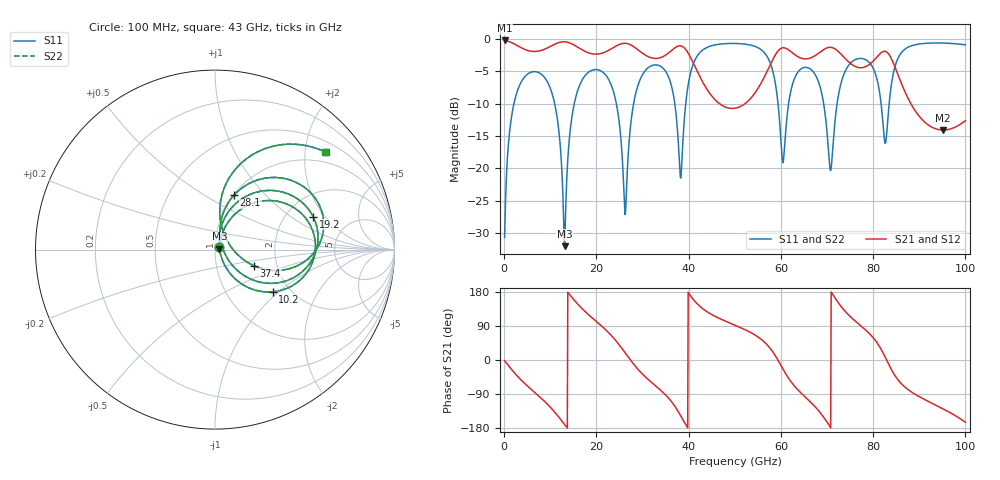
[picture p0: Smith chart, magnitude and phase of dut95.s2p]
! Touchstone file exported from HFSS 2026.1.0
!  File:  C:/ffzhzh/LocalFiles/Ansys_Project_Files/temp_train_TSV_RDL_95_1783454212_34316.aedt
!  Generated:  04:10:41 AM Jul  8, 2026
!  Design:  TSV_RDL
!  Project:  temp_train_TSV_RDL_95_1783454212_34316
! Variables:
!  h_bsmrdl = 2.17um
!  h_ox = 20um
!  h_rdl = 5um
!  h_sub = 97.57um
!  h_tmrdl = 4.22um
!  h_tsv = 97.57um
!  h_via = 3um
!  l_bsmrdl = 320.48um
!  l_sub = 4011.52um
!  l_tmrdl = 635.88um
!  m_sub = 200um
!  pitch = 53.03um
!  r_tsv = 12.27um
!  s_tmrdl = 10um
!  w_bsmrdl = 21.81um
!  w_sub = 500um
!  w_tmrdl = 13.71um
!  x_tsv_center1 = 642.735um
!  x_tsv_center2 = 985.025um
!  x_tsv_center3 = 1634.615um
!  x_tsv_center4 = 1976.905um
!  x_tsv_center5 = 2626.495um
!  x_tsv_center6 = 2968.785um
# GHz S MA R 50.000000
! Terminal data exported
! Port[1] = TM_RDL1_1_T1
! Port[2] = TM_RDL5_1_T1
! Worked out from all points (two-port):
!   1000 points, 100 MHz to 100 GHz, reference 50 ohm
!   highest |S21| = -0.21 dB at 100 MHz (marker M1); lowest = -14.1 dB at 95.2 GHz (marker M2)
!   |S21| within 3 dB of the highest: start of sweep to 40.67 GHz; 58.21 GHz to 74.22 GHz (16.01 GHz wide, 24.2 % of centre) (the widest 2 of 3)
!   lowest |S11| = -32.0 dB at 13.1 GHz (marker M3), VSWR 1.05, Z = 52.5 + j0.583 ohm
!   |S11| at or under -10 dB: 10.95 GHz to 15.2 GHz (4.243 GHz wide, 32.4 % of centre); 24.33 GHz to 28.06 GHz (3.736 GHz wide, 14.3 % of centre); 69.27 GHz to 72.18 GHz (2.908 GHz wide, 4.11 % of centre) (the widest 3 of 7)
!   |S22| runs from -31.9 to -0.6 dB; largest |S21 - S12| = 5.5e-14
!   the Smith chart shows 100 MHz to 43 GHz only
!   S11 on the Smith chart (normalised r, x): 100 MHz: 1.05, +0.04; 10.2 GHz: 1.63, -0.91; 19.2 GHz: 2.79, +1.54; 28.1 GHz: 1.01, +0.68; 37.4 GHz: 1.52, -0.29; 43 GHz: 0.74, +2.46
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0.1  0.0292 35.1  0.9764 -1.6  0.9764 -1.6  0.0292 35.1
! Gamma 0 0 0 0
! Port Impedance 50 0 50 0
3.1  0.4185 40.7  0.8804 -45.5  0.8804 -45.5  0.4185 40.7
10.2  0.398 -36.3  0.8848 -127.0  0.8848 -127.0  0.398 -36.2
13.1  0.02498 12.8  0.9536 -170.2  0.9536 -170.2  0.02536 12.7
16.8  0.4747 43.6  0.8294 136.7  0.8294 136.7  0.4746 43.6
19.2  0.5767 18.6  0.768 109.9  0.768 109.9  0.5767 18.6
23.8  0.3813 -29.4  0.8655 57.0  0.8655 57.0  0.3812 -29.4
26.2  0.04391 9.9  0.928 19.4  0.928 19.4  0.04365 10.0
28.1  0.3218 70.7  0.8731 -11.3  0.8731 -11.3  0.3219 70.7
33.4  0.6277 15.8  0.7115 -74.2  0.7115 -74.2  0.6278 15.8
37.4  0.2355 -22.5  0.873 -129.3  0.873 -129.3  0.2354 -22.6
43  0.8214 41.4  0.4683 135.9  0.4683 135.9  0.8213 41.5
50.1  0.9258 1.4  0.2921 91.6  0.2921 91.6  0.9257 1.5
59.9  0.1873 -64.2  0.8428 -11.8  0.8428 -11.8  0.1888 -63.5
66.7  0.5747 -22.0  0.7213 -114.3  0.7213 -114.3  0.5747 -22.2
70.8  0.09609 4.7  0.8641 -178.7  0.8641 -178.7  0.09316 4.8
74.6  0.6206 24.5  0.6707 119.9  0.6707 119.9  0.6204 24.8
80.6  0.5249 -30.8  0.7131 49.8  0.7131 49.8  0.5256 -30.3
83.4  0.2975 44.2  0.7635 -12.2  0.7635 -12.2  0.3002 43.5
87.8  0.8737 4.2  0.3353 -80.1  0.3353 -80.1  0.874 4.0
95.2  0.9321 -39.2  0.1979 -129.1  0.1979 -129.1  0.9322 -39.3
100  0.9025 -71.9  0.234 -164.3  0.234 -164.3  0.9024 -72.1
